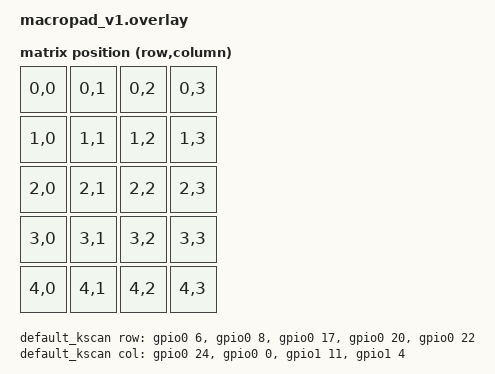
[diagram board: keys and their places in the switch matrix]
#include <dt-bindings/zmk/matrix_transform.h>

/ {
    chosen {
        zmk,kscan = &default_kscan;
        zmk,matrix_transform = &default_transform;
    };

    default_kscan: kscan {
        compatible = "zmk,kscan-gpio-matrix";
        label = "default_kscan";
        diode-direction = "col2row";

        row-gpios = <&gpio0 6 (GPIO_ACTIVE_HIGH | GPIO_PULL_DOWN)>,
                    <&gpio0 8 (GPIO_ACTIVE_HIGH | GPIO_PULL_DOWN)>,
                    <&gpio0 17 (GPIO_ACTIVE_HIGH | GPIO_PULL_DOWN)>,
                    <&gpio0 20 (GPIO_ACTIVE_HIGH | GPIO_PULL_DOWN)>,
                    <&gpio0 22 (GPIO_ACTIVE_HIGH | GPIO_PULL_DOWN)>;

        col-gpios = <&gpio0 24 GPIO_ACTIVE_HIGH>,
                    <&gpio0 0 GPIO_ACTIVE_HIGH>,
                    <&gpio1 11 GPIO_ACTIVE_HIGH>,
                    <&gpio1 4 GPIO_ACTIVE_HIGH>;
    };

    default_transform: matrix_transform {
        compatible = "zmk,matrix-transform";
        rows = <5>;
        columns = <4>;

        map = <
            RC(0,0) RC(0,1) RC(0,2) RC(0,3)
            RC(1,0) RC(1,1) RC(1,2) RC(1,3)
            RC(2,0) RC(2,1) RC(2,2) RC(2,3)
            RC(3,0) RC(3,1) RC(3,2) RC(3,3)
            RC(4,0) RC(4,1) RC(4,2) RC(4,3)
        >; 

    };
};

